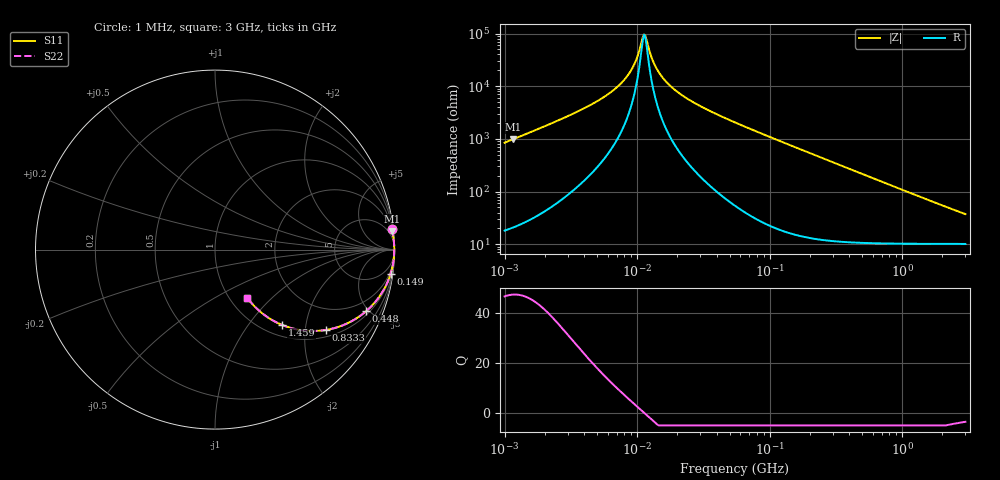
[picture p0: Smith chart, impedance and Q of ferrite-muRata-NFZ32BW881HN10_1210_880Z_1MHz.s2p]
! NFZ32BW881HN10
# Hz S RI R 50
!Freq.(Hz) S11(Real) S11(Imag) S21(Real) S21(Imag) S12(Real) S12(Imag) S22(Real) S22(Imag)
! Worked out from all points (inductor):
!   401 points, 1 MHz to 3 GHz, reference 50 ohm
!   read as one part in series: L = 133 uH near 1.041 MHz
!   highest Q = 47.3 at 1.15 MHz (marker M1), where L = 135 uH
!   self-resonance near 11.27 MHz
!   S11 on the Smith chart (normalised r, x): 1 MHz: 1, +17; 149 MHz: 1, -15; 448 MHz: 1.21, -4.81; 833.3 MHz: 1.21, -2.58; 1.459 GHz: 1.20, -1.48; 3 GHz: 1.20, -0.72
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1000000  0.9838 0.1161  0.0162 -0.1161  0.0162 -0.1161  0.9838 0.1161
1150402  0.9875 0.1011  0.0125 -0.1011  0.0125 -0.1011  0.9875 0.1011
3823119  0.9981 0.0276  0.00188 -0.0276  0.00188 -0.0276  0.9981 0.0276
5938264  0.9987 0.0145  0.00127 -0.0145  0.00127 -0.0145  0.9987 0.0145
8017732  0.9989 0.00742  0.0011 -0.00742  0.0011 -0.00742  0.9989 0.00742
9410094  0.9989 0.00393  0.00105 -0.00393  0.00105 -0.00393  0.9989 0.00393
9992459  0.999 0.00265  0.00104 -0.00265  0.00104 -0.00265  0.999 0.00265
1.082539e7  0.999 0.000966  0.00104 -0.000966  0.00104 -0.000966  0.999 0.000966
1.126754e7  0.999 0.000124  0.00103 -0.000124  0.00103 -0.000124  0.999 0.000124
1.172775e7  0.999 -0.000717  0.00103 0.000717  0.00103 0.000717  0.999 -0.000717
1.29622e7  0.999 -0.00283  0.00104 0.00283  0.00104 0.00283  0.999 -0.00283
1.461624e7  0.9989 -0.0054  0.00107 0.0054  0.00107 0.0054  0.9989 -0.0054
1.750132e7  0.9989 -0.00942  0.00113 0.00942  0.00113 0.00942  0.9989 -0.00942
2.270269e7  0.9987 -0.0158  0.00131 0.0158  0.00131 0.0158  0.9987 -0.0158
5.477226e7  0.9964 -0.0485  0.00363 0.0485  0.00363 0.0485  0.9964 -0.0485
1.49005e8  0.9786 -0.1342  0.0214 0.1342  0.0214 0.1342  0.9786 -0.1342
2.094008e8  0.9595 -0.1851  0.0405 0.1851  0.0405 0.1851  0.9595 -0.1851
4.480278e8  0.842 -0.3432  0.158 0.3432  0.158 0.3432  0.842 -0.3432
8.005644e8  0.6354 -0.4445  0.3646 0.4445  0.3646 0.4445  0.6354 -0.4445
8.332625e8  0.6178 -0.4477  0.3822 0.4477  0.3822 0.4477  0.6178 -0.4477
1.45942e9  0.3732 -0.4196  0.6268 0.4196  0.6268 0.4196  0.3732 -0.4196
3e9  0.1791 -0.2674  0.8209 0.2674  0.8209 0.2674  0.1791 -0.2674
